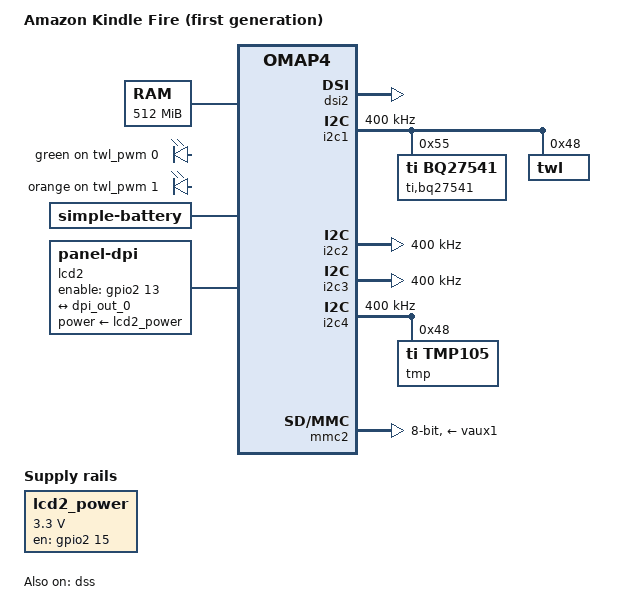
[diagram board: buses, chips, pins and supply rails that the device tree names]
// SPDX-License-Identifier: GPL-2.0-only
/*
 * Copyright (C) 2016 Paul Kocialkowski <contact@paulk.fr>
 */
/dts-v1/;

/* For omapfb driver
[    5.086059] panel-dpi panel: failed to find video source
panel-dpi.c::panel_dpi_probe_pdata() ==> dss-of.c::omapdss_of_find_source_for_first_ep()
*/

#include "omap443x.dtsi"

/ {
	model = "Amazon Kindle Fire (first generation)";
	compatible = "amazon,omap4-kc1", "ti,omap4430", "ti,omap4";

	memory@80000000 {
		device_type = "memory";
		reg = <0x80000000 0x20000000>; /* 512 MB */
	};

	led-controller {
		compatible = "pwm-leds";

		led-1 {
			label = "green";
			pwms = <&twl_pwm 0 7812500>;
			max-brightness = <127>;
		};

		led-2 {
			label = "orange";
			pwms = <&twl_pwm 1 7812500>;
			max-brightness = <127>;
		};
	};

	bat: battery {
		compatible = "simple-battery";
		/* Documentation/devicetree/bindings/power/supply/battery.yaml */
	};

	chosen {
		#address-cells = <1>;
		#size-cells = <1>;
		ranges;

		stdout-path = "serial2";

	};

	lcd2: display  {
		compatible = "panel-dpi";
		status = "ok";
		label = "lcd2";
		data-lines = <24>;
		pinctrl-names = "default";
		pinctrl-0 = <&dss_dpi_pins>;
		enable-gpios = <&gpio2 13 GPIO_ACTIVE_HIGH>; //<OMAP4_IOPAD(0x1B, PIN_OUTPUT | MUX_MODE5)>; //GPIO 45
		power-supply = <&lcd2_power>;
		hpd-gpios = <>;
		connector-type = <17>; //drm_mode.c , DRM_MODE_CONNECTOR_DPI
		connector_type = <17>; //drm_mode.c , DRM_MODE_CONNECTOR_DPI
		//backlight = ???

		panel-timing {
			/* 1024x600p */
			/* From uboot */
			clock-frequency = <51200000>; 
			hactive = <1024>; //x_res
			vactive = <600>; //y_res
			hsync-len = <10>; //hsw
			hfront-porch = <160>; //hfp
			hback-porch = <150>; //hbp
			vfront-porch = <12>; //vfp
			vback-porch = <20>; //vbp
			vsync-len = <3>; //vsw
		};

		ports {
			#address-cells = <1>;
			#size-cells = <0>;
			port@0 {
				data-lines = <24>;
				connector-type = <17>; //drm_mode.c , DRM_MODE_CONNECTOR_DPI
				connector_type = <17>; //drm_mode.c , DRM_MODE_CONNECTOR_DPI
				panel_dpi_in: endpoint {
					data-lines = <24>;
					remote-endpoint = <&dpi_out_0>;
				};
			};
		};
	};

	/* LCD Regulator 3v3 */
	lcd2_power: lcd2_power_reg {
		compatible = "regulator-fixed";
		regulator-name = "lcd2_power_reg";
		regulator-min-microvolt = <3300000>;
		regulator-max-microvolt = <3300000>;
		gpio = <&gpio2 15 GPIO_ACTIVE_HIGH>; /* gpio_47 4v4 LCD_EN */
		startup-delay-us = <70000>;
		enable-active-high;
		regulator-always-on;
		regulator-boot-on;
	};
};

&dss {
	compatible = "ti,omap4-dss";
	status = "ok";
	pinctrl-names = "default";
	pinctrl-0 = <&dss_dpi_pins>;
	connector_type = <17>; //drm_mode.c , DRM_MODE_CONNECTOR_DPI
	connector-type = <17>; //drm_mode.c , DRM_MODE_CONNECTOR_DPI
	
	dispc@0  {
		status = "ok";
	};

	ports {
		#address-cells = <1>;
		#size-cells = <0>;
		port@0 {
			data-lines = <24>;
			//appa
			connector_type = <17>; //drm_mode.c , DRM_MODE_CONNECTOR_DPI
			connector-type = <17>; //drm_mode.c , DRM_MODE_CONNECTOR_DPI
			dpi_out_0: endpoint {
				connector_type = <17>; //drm_mode.c , DRM_MODE_CONNECTOR_DPI
				connector-type = <17>; //drm_mode.c , DRM_MODE_CONNECTOR_DPI
				data-lines = <24>;
				remote-endpoint = <&panel_dpi_in>;
			};
		};
	};
};

&dsi1 {
	status = "disabled";
};

&dsi2 {
	status = "okay";
	vdd-supply = <&vcxio>;
};

&omap4_pmx_core {
	pinctrl-names = "default";

	dss_dpi_pins: pinmux_dss_dpi_pins {
		pinctrl-single,pins = <
			OMAP4_IOPAD(0x162, PIN_OUTPUT | MUX_MODE5)	/* dispc2_data23 */
			OMAP4_IOPAD(0x164, PIN_OUTPUT | MUX_MODE5) 	/* dispc2_data22 */
			OMAP4_IOPAD(0x166, PIN_OUTPUT | MUX_MODE5)	/* dispc2_data21 */
			OMAP4_IOPAD(0x168, PIN_OUTPUT | MUX_MODE5)	/* dispc2_data20 */
			OMAP4_IOPAD(0x16a, PIN_OUTPUT | MUX_MODE5)	/* dispc2_data19 */
			OMAP4_IOPAD(0x16c, PIN_OUTPUT | MUX_MODE5)	/* dispc2_data18 */
			OMAP4_IOPAD(0x16e, PIN_OUTPUT | MUX_MODE5)	/* dispc2_data15 */
			OMAP4_IOPAD(0x170, PIN_OUTPUT | MUX_MODE5)	/* dispc2_data14 */
			OMAP4_IOPAD(0x172, PIN_OUTPUT | MUX_MODE5)	/* dispc2_data13 */
			OMAP4_IOPAD(0x174, PIN_OUTPUT | MUX_MODE5)	/* dispc2_data12 */
			OMAP4_IOPAD(0x176, PIN_OUTPUT | MUX_MODE5)	/* dispc2_data11 */

			OMAP4_IOPAD(0x1b4, PIN_OUTPUT | MUX_MODE5)	/* dispc2_data10 */
			OMAP4_IOPAD(0x1b6, PIN_OUTPUT | MUX_MODE5)	/* dispc2_data9 */
			OMAP4_IOPAD(0x1b8, PIN_OUTPUT | MUX_MODE5)	/* dispc2_data16 */
			OMAP4_IOPAD(0x1ba, PIN_OUTPUT | MUX_MODE5)	/* dispc2_data17 */
			OMAP4_IOPAD(0x1bc, PIN_OUTPUT | MUX_MODE5)	/* dispc2_hsync */
			OMAP4_IOPAD(0x1be, PIN_OUTPUT | MUX_MODE5)	/* dispc2_pclk */
			OMAP4_IOPAD(0x1c0, PIN_OUTPUT | MUX_MODE5)	/* dispc2_vsync */
			OMAP4_IOPAD(0x1c2, PIN_OUTPUT | MUX_MODE5)	/* dispc2_de */
			OMAP4_IOPAD(0x1c4, PIN_OUTPUT | MUX_MODE5)	/* dispc2_data8 */
			OMAP4_IOPAD(0x1c6, PIN_OUTPUT | MUX_MODE5)	/* dispc2_data7 */
			OMAP4_IOPAD(0x1c8, PIN_OUTPUT | MUX_MODE5)	/* dispc2_data6 */
			OMAP4_IOPAD(0x1ca, PIN_OUTPUT | MUX_MODE5)	/* dispc2_data5 */
			OMAP4_IOPAD(0x1cc, PIN_OUTPUT | MUX_MODE5)	/* dispc2_data4 */
			OMAP4_IOPAD(0x1ce, PIN_OUTPUT | MUX_MODE5)	/* dispc2_data3 */

			OMAP4_IOPAD(0x1d0, PIN_OUTPUT | MUX_MODE5)	/* dispc2_data2 */
			OMAP4_IOPAD(0x1d2, PIN_OUTPUT | MUX_MODE5)	/* dispc2_data1 */
			OMAP4_IOPAD(0x1d4, PIN_OUTPUT | MUX_MODE5)	/* dispc2_data0 */
		>;
	};

	// lcd_en_pin: pinmux_lcd_en_pin{
	// 	pinctrl-single,pins = <
	// 		OMAP4_IOPAD(???, PIN_OUTPUT | MUX_MODE_5) /* LCD_PWR_ON */
	// 	>;
	// };

	// lcd_rgb_shutdown: pinmux_lcd_rgb_shutdown{
	// 	pinctrl-single,pins = <
	// 		OMAP4_IOPAD(???) /* OMAP_RGB_SHTDOWN */
	// 	>;
	// };

	// lcd_pwr: pinmux_lcd_pwr{
	// 	pinctrl-single,pins = <
	// 		OMAP4_IOPAD(???) /* GPIO_47 3.3v rail*/
	// 	>;
	// };

	uart3_pins: pinmux_uart3_pins {
		pinctrl-single,pins = <
			OMAP4_IOPAD(0x144, PIN_INPUT | MUX_MODE0)		/* uart3_rx_irrx */
			OMAP4_IOPAD(0x146, PIN_OUTPUT | MUX_MODE0)		/* uart3_tx_irtx */
		>;
	};

	i2c1_pins: pinmux_i2c1_pins {
		pinctrl-single,pins = <
			OMAP4_IOPAD(0x122, PIN_INPUT_PULLUP | MUX_MODE0)	/* i2c1_scl */
			OMAP4_IOPAD(0x124, PIN_INPUT_PULLUP | MUX_MODE0)	/* i2c1_sda */
		>;
	};

	i2c2_pins: pinmux_i2c2_pins {
		pinctrl-single,pins = <
			OMAP4_IOPAD(0x126, PIN_INPUT_PULLUP | MUX_MODE0)	/* i2c2_scl */
			OMAP4_IOPAD(0x128, PIN_INPUT_PULLUP | MUX_MODE0)	/* i2c2_sda */
		>;
	};

	i2c3_pins: pinmux_i2c3_pins {
		pinctrl-single,pins = <
			OMAP4_IOPAD(0x12a, PIN_INPUT_PULLUP | MUX_MODE0)	/* i2c3_scl */
			OMAP4_IOPAD(0x12c, PIN_INPUT_PULLUP | MUX_MODE0)	/* i2c3_sda */
		>;
	};

	i2c4_pins: pinmux_i2c4_pins {
		pinctrl-single,pins = <
			OMAP4_IOPAD(0x12e, PIN_INPUT_PULLUP | MUX_MODE0)	/* i2c4_scl */
			OMAP4_IOPAD(0x130, PIN_INPUT_PULLUP | MUX_MODE0)	/* i2c4_sda */
		>;
	};

	mmc2_pins: pinmux_mmc2_pins {
		pinctrl-single,pins = <
			OMAP4_IOPAD(0x040, PIN_INPUT_PULLUP | MUX_MODE1)	/* sdmmc2_dat0 */
			OMAP4_IOPAD(0x042, PIN_INPUT_PULLUP | MUX_MODE1)	/* sdmmc2_dat1 */
			OMAP4_IOPAD(0x044, PIN_INPUT_PULLUP | MUX_MODE1)	/* sdmmc2_dat2 */
			OMAP4_IOPAD(0x046, PIN_INPUT_PULLUP | MUX_MODE1)	/* sdmmc2_dat3 */
			OMAP4_IOPAD(0x048, PIN_INPUT_PULLUP | MUX_MODE1)	/* sdmmc2_dat4 */
			OMAP4_IOPAD(0x04a, PIN_INPUT_PULLUP | MUX_MODE1)	/* sdmmc2_dat5 */
			OMAP4_IOPAD(0x04c, PIN_INPUT_PULLUP | MUX_MODE1)	/* sdmmc2_dat6 */
			OMAP4_IOPAD(0x04e, PIN_INPUT_PULLUP | MUX_MODE1)	/* sdmmc2_dat7 */
			OMAP4_IOPAD(0x082, PIN_INPUT_PULLUP | MUX_MODE1)	/* sdmmc2_clk */
			OMAP4_IOPAD(0x084, PIN_INPUT_PULLUP | MUX_MODE1)	/* sdmmc2_cmd */
		>;
	};

	usb_otg_hs_pins: pinmux_usb_otg_hs_pins {
		pinctrl-single,pins = <
			OMAP4_IOPAD(0x194, PIN_OUTPUT_PULLDOWN | MUX_MODE0)	/* usba0_otg_ce */
			OMAP4_IOPAD(0x196, PIN_INPUT | MUX_MODE0)		/* usba0_otg_dp */
			OMAP4_IOPAD(0x198, PIN_INPUT | MUX_MODE0)		/* usba0_otg_dm */
		>;
	};
};

&uart3 {
	pinctrl-names = "default";
	pinctrl-0 = <&uart3_pins>;

	interrupts-extended = <&wakeupgen GIC_SPI 74 IRQ_TYPE_LEVEL_HIGH
			       &omap4_pmx_core OMAP4_UART3_RX>;
};

&i2c1 {
	pinctrl-names = "default";
	pinctrl-0 = <&i2c1_pins>;

	clock-frequency = <400000>;

	ti,bq27541@55 {
		compatible = "ti,bq27541";
		reg = <0x55>;
		monitored-battery = <&bat>;
		/* Documentation/devicetree/bindings/power/supply/bq27xxx.yaml */
	};

	twl: twl@48 {
		reg = <0x48>;
		/* IRQ# = 7 */
		interrupts = <GIC_SPI 7 IRQ_TYPE_LEVEL_HIGH>; /* IRQ_SYS_1N cascaded to gic */

		twl_power: power {
			compatible = "ti,twl6030-power";
			ti,system-power-controller;
		};
	};
};

&i2c2 {
	pinctrl-names = "default";
	pinctrl-0 = <&i2c2_pins>;

	clock-frequency = <400000>;
};

&i2c3 {
	pinctrl-names = "default";
	pinctrl-0 = <&i2c3_pins>;

	clock-frequency = <400000>;
};

&i2c4 {
	pinctrl-names = "default";
	pinctrl-0 = <&i2c4_pins>;

	clock-frequency = <400000>;

	tmp@48 {
		compatible = "ti,tmp105";
		reg = <0x48>;
		status = "okay";
	};
};

&mmc1 {
	status = "disabled";
};

&mmc2 {
	pinctrl-names = "default";
	pinctrl-0 = <&mmc2_pins>;

	vmmc-supply = <&vaux1>;
	ti,non-removable;
	bus-width = <8>;
};

&mmc3 {
	status = "disabled";
};

&mmc4 {
	status = "disabled";
};

&usb_otg_hs {
	pinctrl-names = "default";
	pinctrl-0 = <&usb_otg_hs_pins>;

	interface-type = <1>;
	mode = <3>;
	power = <50>;
};

#include "twl6030.dtsi"
#include "twl6030_omap4.dtsi"

&twl_usb_comparator {
	usb-supply = <&vusb>;
};
